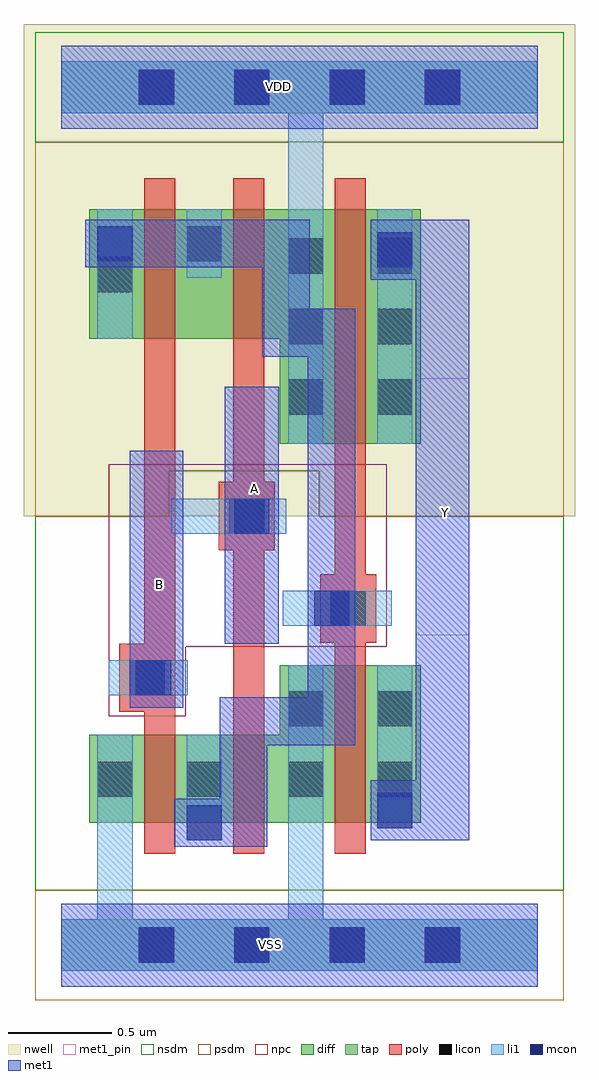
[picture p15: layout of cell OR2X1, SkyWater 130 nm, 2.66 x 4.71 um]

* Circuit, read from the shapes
.subckt OR2X1 A B VDD VSS Y
XM1 n1 B VSS VSS sky130_fd_pr__nfet_01v8 w=0.425 l=0.15
XM2 VSS A n1 VSS sky130_fd_pr__nfet_01v8 w=0.425 l=0.15
XM3 Y n1 VSS VSS sky130_fd_pr__nfet_01v8 w=0.76 l=0.15
XM4 n2 B n1 VDD sky130_fd_pr__pfet_01v8 w=0.625 l=0.15
XM5 VDD A n2 VDD sky130_fd_pr__pfet_01v8 w=0.625 l=0.15
XM6 Y n1 VDD VDD sky130_fd_pr__pfet_01v8 w=1.13 l=0.15
.ends

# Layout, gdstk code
from math import pi, radians
import gdstk
lib = gdstk.Library(unit=1e-6, precision=1e-09)
def R(c, l, rs):  # rectangles x0, y0, x1, y1
    for r in rs: c.add(gdstk.rectangle(r[:2], r[2:], *l))
def A(c, l, x, y, w, h, nx, ny, dx, dy):  # array of equal rectangles
    R(c, l, [(x+i*dx, y+j*dy, x+i*dx+w, y+j*dy+h) for i in range(nx) for j in range(ny)])
def P(c, l, *ps):  # polygons
    for p in ps: c.add(gdstk.Polygon(p, *l))
nwell = (64, 20)
diff = (65, 20)
tap = (65, 44)
poly = (66, 20)
licon = (66, 44)
li1 = (67, 20)
mcon = (67, 44)
met1_pin = (68, 16)
met1 = (68, 20)
nsdm = (93, 44)
psdm = (94, 20)
npc = (95, 20)

l1m1_c_cdns_751554744752 = lib.new_cell('L1M1_C_CDNS_7515547447523')
R(l1m1_c_cdns_751554744752, li1, [(-0.085,-0.085,0.085,0.165)])
R(l1m1_c_cdns_751554744752, mcon, [(-0.085,-0.085,0.085,0.085)])
R(l1m1_c_cdns_751554744752, met1, [(-0.145,-0.115,0.145,0.115)])

lilicon_c_cdns_751554744 = lib.new_cell('LILICON_C_CDNS_751554744756')
R(lilicon_c_cdns_751554744, licon, [(-0.085,-0.085,0.085,0.085), (-0.085,-0.085,0.085,0.085)])
R(lilicon_c_cdns_751554744, li1, [(-0.085,-0.165,0.085,0.165)])

l1m1_c_cdns_751554744753 = lib.new_cell('L1M1_C_CDNS_751554744753')
R(l1m1_c_cdns_751554744753, li1, [(-0.085,-0.165,0.085,0.165)])
R(l1m1_c_cdns_751554744753, mcon, [(-0.085,-0.085,0.085,0.085)])
R(l1m1_c_cdns_751554744753, met1, [(-0.115,-0.145,0.115,0.145)])

l1m1_c_cdns_751554744758 = lib.new_cell('L1M1_C_CDNS_751554744758')
R(l1m1_c_cdns_751554744758, li1, [(-0.085,-0.165,0.085,0.165)])
R(l1m1_c_cdns_751554744758, mcon, [(-0.085,-0.085,0.085,0.085)])
R(l1m1_c_cdns_751554744758, met1, [(-0.145,-0.115,0.145,0.115)])

pyl1con_c_cdns_751554744 = lib.new_cell('PYL1CON_C_CDNS_751554744751')
R(pyl1con_c_cdns_751554744, poly, [(-0.135,-0.165,0.135,0.165)])
R(pyl1con_c_cdns_751554744, licon, [(-0.085,-0.085,0.085,0.085)])
R(pyl1con_c_cdns_751554744, npc, [(-0.185,-0.185,0.185,0.185)])

l1m1_c_cdns_751554744750 = lib.new_cell('L1M1_C_CDNS_751554744750')
R(l1m1_c_cdns_751554744750, li1, [(-0.165,-0.085,0.165,0.085)])
R(l1m1_c_cdns_751554744750, mcon, [(-0.085,-0.085,0.085,0.085)])
R(l1m1_c_cdns_751554744750, met1, [(-0.115,-0.145,0.115,0.145)])

l1m1_c_cdns_751554744751 = lib.new_cell('L1M1_C_CDNS_7515547447511')
R(l1m1_c_cdns_751554744751, li1, [(-0.085,-0.085,0.085,0.165)])
R(l1m1_c_cdns_751554744751, mcon, [(-0.085,-0.085,0.085,0.085)])
R(l1m1_c_cdns_751554744751, met1, [(-0.115,-0.145,0.115,0.145)])

or2x1 = lib.new_cell('OR2X1')
R(or2x1, nwell, [(-0.18,2.07,2.48,4.445)])
P(or2x1, diff, [(1.735,3.55),(0.135,3.55),(0.135,2.925),(1.055,2.925),(1.055,2.42),(1.735,2.42)],
  [(1.735,1.35),(1.055,1.35),(1.055,1.015),(0.135,1.015),(0.135,0.59),(1.735,0.59)])
R(or2x1, poly, [(0.4,0.44,0.55,3.7), (0.83,0.44,0.98,3.7), (1.32,0.44,1.47,3.7)])
A(or2x1, licon, 0.375, -0.085, 0.17, 0.17, 4, 2, 0.46, 4.14)
A(or2x1, licon, 1.095, 2.56, 0.17, 0.17, 1, 3, 0, 0.34)
A(or2x1, licon, 1.525, 2.56, 0.17, 0.17, 1, 3, 0, 0.34)
R(or2x1, licon, [(0.175,0.715,0.345,0.885), (0.605,0.715,0.775,0.885), (1.095,0.715,1.265,0.885), (1.525,0.715,1.695,0.885), (1.095,1.055,1.265,1.225), (1.525,1.055,1.695,1.225), (0.175,3.15,0.345,3.32)])
R(or2x1, li1, [(0.605,0.59,0.775,1.015), (1.525,0.59,1.695,1.35), (1.525,2.42,1.695,3.55), (0.175,2.925,0.345,3.55)])
P(or2x1, li1, [(2.3,4.265),(0,4.265),(0,4.015),(1.095,4.015),(1.095,2.42),(1.265,2.42),(1.265,4.015),(2.3,4.015)],
  [(2.3,0.125),(1.265,0.125),(1.265,1.35),(1.095,1.35),(1.095,0.125),(0.345,0.125),(0.345,1.015),(0.175,1.015),(0.175,0.125),(0,0.125),(0,-0.125),(2.3,-0.125)])
A(or2x1, mcon, 0.375, -0.085, 0.17, 0.17, 4, 2, 0.46, 4.14)
R(or2x1, met1_pin, [(0.33,1.145,0.59,2.385), (0.79,1.455,1.05,2.695), (1.71,1.495,1.97,2.735)])
R(or2x1, nsdm, [(-0.125,3.875,2.425,4.405)])
P(or2x1, nsdm, [(2.425,2.07),(1.245,2.07),(1.245,2.29),(0.52,2.29),(0.52,2.07),(-0.125,2.07),(-0.125,0.265),(2.425,0.265)])
R(or2x1, psdm, [(-0.125,-0.265,2.425,0.265)])
P(or2x1, psdm, [(2.425,3.875),(-0.125,3.875),(-0.125,2.07),(0.52,2.07),(0.52,2.29),(1.245,2.29),(1.245,2.07),(2.425,2.07)])
P(or2x1, npc, [(1.57,2.32),(0.23,2.32),(0.23,1.105),(0.45,1.105),(0.45,1.44),(1.57,1.44)])
or2x1.add(gdstk.FlexPath([(0.445,1.29),(0.23,1.29)], 0.17, ends="flush", simple_path=True, layer=67, datatype=20))  # li1
or2x1.add(gdstk.FlexPath([(1.06,2.07),(0.53,2.07)], 0.17, ends="flush", simple_path=True, layer=67, datatype=20))  # li1
or2x1.add(gdstk.FlexPath([(1.595,1.625),(1.07,1.625)], 0.17, ends="flush", simple_path=True, layer=67, datatype=20))  # li1
or2x1.add(gdstk.FlexPath([(0,0),(2.3,0)], 0.25, ends="flush", simple_path=True, layer=65, datatype=44))  # tap
or2x1.add(gdstk.FlexPath([(0,4.14),(2.3,4.14)], 0.25, ends="flush", simple_path=True, layer=65, datatype=44))  # tap
or2x1.add(gdstk.FlexPath([(0,0),(2.3,0)], 0.4, ends="flush", simple_path=True, layer=68, datatype=20))  # met1
or2x1.add(gdstk.FlexPath([(0,4.14),(2.3,4.14)], 0.4, ends="flush", simple_path=True, layer=68, datatype=20))  # met1
or2x1.add(gdstk.FlexPath([(0.92,1.455),(0.92,2.695)], 0.26, ends="flush", simple_path=True, layer=68, datatype=20))  # met1
or2x1.add(gdstk.FlexPath([(0.46,1.145),(0.46,2.385)], 0.26, ends="flush", simple_path=True, layer=68, datatype=20))  # met1
or2x1.add(gdstk.FlexPath([(1.84,0.505),(1.84,3.5)], 0.26, ends="flush", simple_path=True, layer=68, datatype=20))  # met1
or2x1.add(gdstk.FlexPath([(0.275,3.385),(1.085,3.385),(1.085,2.955),(1.305,2.955),(1.305,1.08),(0.88,1.08),(0.88,0.475)], 0.23, ends="flush", simple_path=True, layer=68, datatype=20))  # met1
or2x1.add(gdstk.FlexPath([(0,4.14),(2.3,4.14)], 0.4, ends="flush", simple_path=True, layer=68, datatype=16))  # met1_pin
or2x1.add(gdstk.FlexPath([(0,0),(2.3,0)], 0.4, ends="flush", simple_path=True, layer=68, datatype=16))  # met1_pin
or2x1.add(gdstk.Reference(l1m1_c_cdns_751554744752, (0.69,0.59)))
or2x1.add(gdstk.Reference(lilicon_c_cdns_751554744, (0.69,3.385)))
or2x1.add(gdstk.Reference(l1m1_c_cdns_751554744753, (1.61,3.355)))
or2x1.add(gdstk.Reference(l1m1_c_cdns_751554744758, (0.445,1.29), rotation=pi/2))
or2x1.add(gdstk.Reference(l1m1_c_cdns_751554744758, (0.26,3.385)))
or2x1.add(gdstk.Reference(pyl1con_c_cdns_751554744, (0.895,2.07)))
or2x1.add(gdstk.Reference(pyl1con_c_cdns_751554744, (1.385,1.625)))
or2x1.add(gdstk.Reference(pyl1con_c_cdns_751554744, (0.415,1.29)))
or2x1.add(gdstk.Reference(l1m1_c_cdns_751554744750, (1.305,1.625)))
or2x1.add(gdstk.Reference(l1m1_c_cdns_751554744750, (0.92,2.07), x_reflection=True))
or2x1.add(gdstk.Reference(l1m1_c_cdns_751554744751, (1.61,0.65)))
or2x1.add(gdstk.Label('VDD', (1.05,4.145), layer=68, texttype=5))
or2x1.add(gdstk.Label('A', (0.935,2.205), layer=68, texttype=5))
or2x1.add(gdstk.Label('B', (0.475,1.74), layer=68, texttype=5))
or2x1.add(gdstk.Label('VSS', (1.01,0.005), layer=68, texttype=5))
or2x1.add(gdstk.Label('Y', (1.855,2.09), layer=68, texttype=5))

lib.write_gds('OR2X1.gds')
